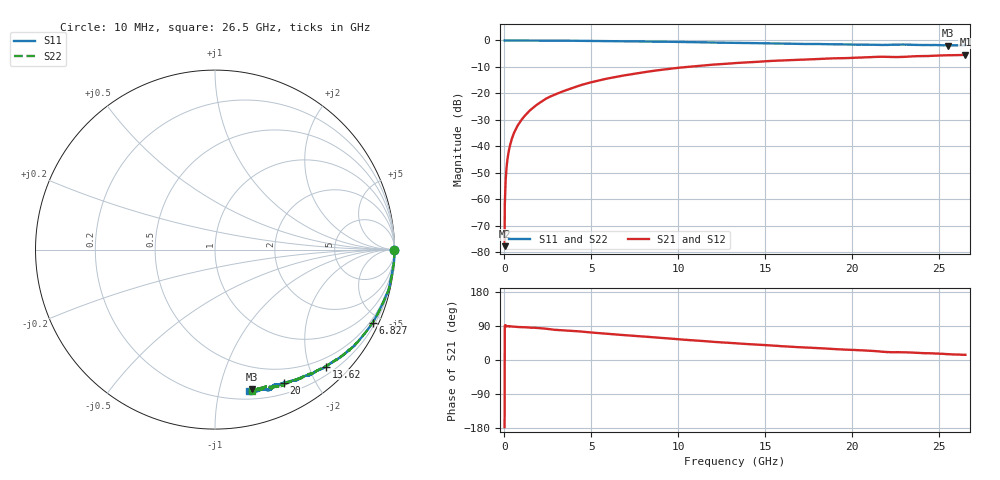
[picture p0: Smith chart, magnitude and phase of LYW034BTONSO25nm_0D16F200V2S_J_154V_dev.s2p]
!Keysight Technologies,N5222B,MY61253708,A.15.00.15
!Date: Wednesday, June 19, 2024 10:12:39
!Correction: S11(C  2-Port  )
!S21(C  2-Port  )
!S12(C  2-Port  )
!S22(C  2-Port  )
!S2P File: Measurements: S11, S21, S12, S22:
# Hz S  RI  R 50
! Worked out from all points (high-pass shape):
!   2651 points, 10 MHz to 26.5 GHz, reference 50 ohm
!   highest |S21| = -5.42 dB at 26.5 GHz (marker M1); lowest = -77.7 dB at 10 MHz (marker M2)
!   |S21| within 3 dB of the highest: 13.57 GHz to end of sweep
!   lowest |S11| = -1.9 dB at 25.5 GHz (marker M3), VSWR 9.16, Z = 14.4 - j63 ohm
!   |S11| at or under -10 dB: nowhere
!   |S22| runs from -1.8 to 0.0 dB; largest |S21 - S12| = 0.0058
!   S11 on the Smith chart (normalised r, x): 10 MHz: open; 6.827 GHz: 0.36, -4.51; 13.62 GHz: 0.34, -2.29; 20 GHz: 0.33, -1.60; 26.5 GHz: 0.27, -1.23
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1e7  0.9984 -0.00311  -0.00013 -6.63e-06  7.94e-05 0.000345  0.9985 -0.00105
7.997358e7  1 -0.00569  6.47e-07 0.00258  2.17e-05 0.00262  0.9994 -0.00516
1.499472e8  1 -0.0107  5.16e-05 0.0049  6.47e-05 0.00491  0.9997 -0.00993
1.799358e8  1 -0.0119  7.42e-05 0.00587  6.7e-05 0.00592  0.9996 -0.0112
2.29917e8  0.9998 -0.0157  0.000127 0.00751  0.000106 0.00754  0.9994 -0.0146
3.19883e8  0.9997 -0.0213  0.000244 0.0104  0.000255 0.0105  0.9996 -0.02
4.49834e8  0.9991 -0.0302  0.000423 0.0147  0.000445 0.0147  0.9988 -0.0293
6.097736e8  0.999 -0.0403  0.000789 0.0199  0.000792 0.02  0.9988 -0.0392
7.897057e8  0.9984 -0.0521  0.00133 0.0256  0.00131 0.0257  0.9978 -0.051
1.429464e9  0.991 -0.0955  0.00317 0.0464  0.00326 0.0465  0.9936 -0.0914
2.319128e9  0.9825 -0.1495  0.00948 0.0763  0.00968 0.0766  0.9839 -0.1491
3.208792e9  0.9719 -0.2056  0.0204 0.1025  0.0206 0.1029  0.9726 -0.2032
4.428332e9  0.9441 -0.2779  0.0372 0.1397  0.0375 0.1402  0.9464 -0.2735
6.827426e9  0.8779 -0.4063  0.0888 0.1983  0.0898 0.1986  0.8808 -0.4026
8.846664e9  0.8073 -0.4992  0.1417 0.2348  0.1428 0.235  0.8109 -0.4951
1.3255e10  0.6331 -0.6407  0.2676 0.2605  0.2692 0.26  0.6403 -0.6366
1.362486e10  0.6186 -0.6513  0.2773 0.2597  0.2782 0.259  0.625 -0.6444
1.767333e10  0.4622 -0.7221  0.3738 0.2346  0.3764 0.2327  0.4769 -0.7176
2.000245e10  0.3836 -0.741  0.4199 0.2095  0.4223 0.2068  0.4008 -0.7394
2.209166e10  0.3265 -0.7565  0.4572 0.1739  0.4584 0.1708  0.3255 -0.7621
2.550038e10  0.2069 -0.776  0.5073 0.1382  0.5081 0.1374  0.2324 -0.7784
2.65e10  0.1874 -0.7897  0.5207 0.1268  0.5197 0.123  0.206 -0.7882
